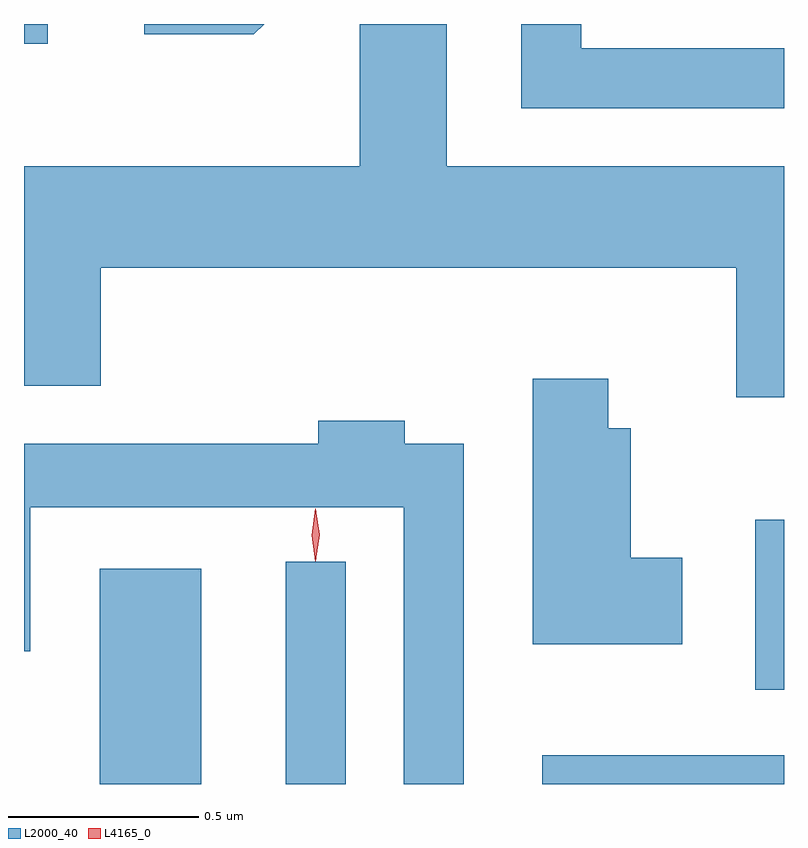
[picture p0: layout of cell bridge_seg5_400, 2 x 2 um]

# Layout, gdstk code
import gdstk
lib = gdstk.Library(unit=1e-6, precision=1e-09)
def R(c, l, rs):  # rectangles x0, y0, x1, y1
    for r in rs: c.add(gdstk.rectangle(r[:2], r[2:], *l))
def P(c, l, *ps):  # polygons
    for p in ps: c.add(gdstk.Polygon(p, *l))
L2000_40 = (2000, 40)
L4165_0 = (4165, 0)

bridge_seg5_400 = lib.new_cell('bridge_seg5_400')
R(bridge_seg5_400, L2000_40, [(398.786,1493.178,399.054,1493.744), (399.276,1493.178,399.434,1493.763), (399.951,1493.178,400.587,1493.254), (400.511,1493.426,400.587,1493.874), (398.587,1495.126,398.649,1495.178)])
P(bridge_seg5_400, L2000_40, [(400.587,1494.804),(399.699,1494.804),(399.699,1495.178),(399.471,1495.178),(399.471,1494.804),(398.587,1494.804),(398.587,1494.226),(398.789,1494.226),(398.789,1494.536),(400.461,1494.536),(400.461,1494.196),(400.587,1494.196)],
  [(400.587,1495.114),(400.054,1495.114),(400.054,1495.178),(399.896,1495.178),(399.896,1494.956),(400.587,1494.956)],
  [(399.219,1495.178),(398.903,1495.178),(398.903,1495.151),(399.192,1495.151)],
  [(400.319,1493.774),(400.184,1493.774),(400.184,1494.114),(400.124,1494.114),(400.124,1494.244),(399.926,1494.244),(399.926,1493.546),(400.319,1493.546)],
  [(399.744,1494.074),(399.589,1494.074),(399.589,1494.134),(399.361,1494.134),(399.361,1494.074),(398.587,1494.074),(398.587,1493.528),(398.604,1493.528),(398.604,1493.906),(399.586,1493.906),(399.586,1493.178),(399.744,1493.178)])
P(bridge_seg5_400, L4165_0, [(399.354,1493.767),(399.345,1493.834),(399.354,1493.9),(399.355,1493.9),(399.355,1493.9),(399.365,1493.834),(399.355,1493.767),(399.355,1493.767)],
  [(399.354,1493.764),(399.354,1493.764),(399.344,1493.833),(399.354,1493.902),(399.354,1493.903),(399.355,1493.902),(399.364,1493.833),(399.355,1493.764)])

lib.write_gds('bridge_seg5_400.gds')
